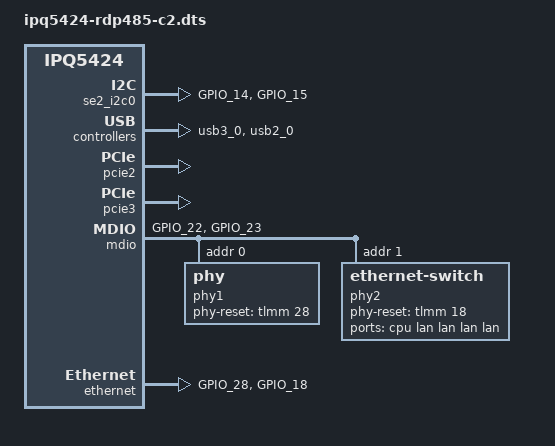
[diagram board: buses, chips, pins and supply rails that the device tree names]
// SPDX-License-Identifier: GPL-2.0-only
/*
* Copyright (c) 2023-2024, Qualcomm Innovation Center, Inc. All rights reserved.
*/

#include "ipq5424-default.dts"

/ {
	config_name = "config-rdp485-c2";

	soc: soc@0 {
		tlmm: pinctrl@1000000 {
			mdio_pinmux: mdio {
				mdc {
					pins = "GPIO_22";
					function = "mdc";
					drive-strength = <DRIVE_STRENGTH_8MA>;
					bias-disable;
				};

				mdio {
					pins = "GPIO_23";
					function = "mdio";
					drive-strength = <DRIVE_STRENGTH_8MA>;
					bias-pull-up;
				};
			};

			phy_rst_pinmux: phy_rst {
				qti_aquantia_rst {
					pins = "GPIO_28";
					drive-strength = <DRIVE_STRENGTH_8MA>;
					bias-pull-up;
				};

				qti_8x8x_rst {
					pins = "GPIO_18";
					drive-strength = <DRIVE_STRENGTH_8MA>;
					bias-pull-up;
				};
			};

			i2c0_pinmux: i2c0 {
				i2c0_scl {
					pins = "GPIO_14";
					function = "i2c0_scl";
					drive-strength = <DRIVE_STRENGTH_8MA>;
					bias-pull-up;
				};

				i2c0_sda {
					pins = "GPIO_15";
					function = "i2c0_sda";
					drive-strength = <DRIVE_STRENGTH_8MA>;
					bias-disable;
				};
			};
		};

		qupv3: geniqup@1ac0000 {
			se2_i2c0: i2c@1a88000 {
				pinctrl-0 = <&i2c0_pinmux>;
				pinctrl-names = "default";
				status = "okay";
			};
		};

		qmp_ssphy_0: ssphy@7D000 {
			status = "okay";
		};

		qusb2_phy_0: qusb2@7B000 {
			status = "okay";
		};

		usb3_0: usb@8af8800 {
			status = "okay";
		};

		qusb2_phy_1: qusb2@71000 {
			status = "okay";
		};

		usb2_0: usb@1ef8800 {
			status = "okay";
		};

		pcie2_phy: phy@f4000 {
			status = "okay";
		};

		pcie2: pcie@50000000 {
			pinctrl-names = "default";
			pinctrl-0 = <&pcie2_pinmux>;
			perst_gpio = <&tlmm 31 GPIO_ACTIVE_HIGH>;
			status = "okay";
		};

		pcie3_phy: phy@fc000 {
			status = "okay";
		};

		pcie3: pcie@40000000 {
			pinctrl-names = "default";
			pinctrl-0 = <&pcie3_pinmux>;
			perst_gpio = <&tlmm 34 GPIO_ACTIVE_HIGH>;
			status = "okay";
		};

		mdio: mdio@90000 {
			pinctrl-names = "default";
			pinctrl-0 = <&mdio_pinmux>;
			status = "okay";

			phy1: phy@8 {
				phy-reset-gpio = <&tlmm 28 0>;
				reg = <0>;
				phy_id = <AQ_PHY_TYPE>;
				phy-mode = "usxgmii";
				id = <2>;
				uniphy_id = <1>;
				uniphy_type = <0>;
				xgmac;
			};

			phy2: ethernet-switch@1 {
				phy-reset-gpio = <&tlmm 18 0>;
				dev-mode = <0x1>;
				reg = <1>;
				phy_id = <QCA8x8x_SWITCH_TYPE>;
				id = <3>;
				uniphy_id = <2>;
				uniphy_type = <0>;
				max_speed = <2500>;
				force-speed;
				xgmac;
				ports {
					#address-cells = <1>;
					#size-cells = <0>;

					port0: port@0 {
						reg = <0>;
						label = "cpu";
						phy-mode = "sgmii-2500";
						fixed-link {
							speed = <2500>;
							full-duplex;
						};
					};

					port1: port@1 {
						reg = <1>;
						label = "lan";
					};

					port2: port@2 {
						reg = <2>;
						label = "lan";
					};

					port3: port@3 {
						reg = <3>;
						label = "lan";
					};

					port4: port@4 {
						reg = <4>;
						label = "lan";
					};
				};
			};
		};

		ethernet: nss-switch {
			pinctrl-names = "default";
			pinctrl-0 = <&phy_rst_pinmux>;
			phy-handle1 = <&phy1>;
			phy-handle2 = <&phy2>;
			status = "okay";
		};
	};
};
